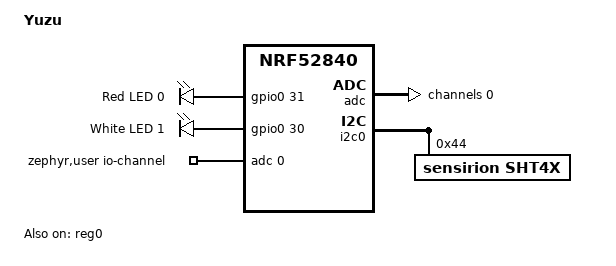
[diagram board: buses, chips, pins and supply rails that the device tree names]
/dts-v1/;
#include <nordic/nrf52840_qiaa.dtsi>
#include "yuzu-pinctrl.dtsi"
#include <zephyr/dt-bindings/input/input-event-codes.h>

/ {
	model = "Yuzu";
	compatible = "custom,yuzu";

	chosen {
		zephyr,sram = &sram0;
		zephyr,flash = &flash0;
		zephyr,code-partition = &slot0_partition;
	};

	leds {
		compatible = "gpio-leds";
		led0: led_0 {
			gpios = <&gpio0 31 GPIO_ACTIVE_HIGH>;
			label = "Red LED 0";
		};
		led1: led_1 {
			gpios = <&gpio0 30 GPIO_ACTIVE_HIGH>;
			label = "White LED 1";
		};
	};

	zephyr,user {
        io-channels = <&adc 0>;
    };

	/* These aliases are provided for compatibility with samples */
	aliases {
		led0 = &led0;
		led1 = &led1;
		bootloader-led0 = &led0;
		mcuboot-led0 = &led0;
		watchdog0 = &wdt0;
	};
};

&reg0 {
	status = "okay";
};

&reg1 {
	regulator-initial-mode = <NRF5X_REG_MODE_DCDC>;
};

&adc {
	status = "okay";
	#address-cells = <1>;
	#size-cells = <0>;

	channel@0 {
		reg = <0>;
		zephyr,gain = "ADC_GAIN_1_6";
		zephyr,reference = "ADC_REF_INTERNAL";
		zephyr,acquisition-time = <ADC_ACQ_TIME_DEFAULT>;
		zephyr,input-positive = <NRF_SAADC_VDD>;
		zephyr,resolution = <12>;
	};
};

&uicr {
	gpio-as-nreset;
};

&gpiote {
	status = "okay";
};

&gpio0 {
	status = "okay";
};

&gpio1 {
	status = "okay";
};

&i2c0 {
	compatible = "nordic,nrf-twim";
	status = "okay";
	pinctrl-0 = <&i2c0_default>;
	pinctrl-1 = <&i2c0_sleep>;
	pinctrl-names = "default", "sleep";

	SHT4X: sht4x@44 {
		compatible = "sensirion,sht4x";
		reg = <0x44>;
		repeatability = <0>;
	};
};

&flash0 {

	partitions {
		ranges;
		#address-cells = <1>;
		#size-cells = <1>;

		/*
		 * Must match the layout the Partition Manager gave builds up to
		 * NCS 3.2 (nrf/scripts/pm_to_dts.py on a 3.2.3 build): sensors in
		 * the field run a bootloader with these slots. A different layout
		 * breaks updates over Bluetooth to and from those sensors.
		 */
		boot_partition: partition@0 {
			compatible = "zephyr,mapped-partition";
			label = "mcuboot";
			reg = <0x00000000 0x0000c000>;
		};
		slot0_partition: partition@c000 {
			compatible = "zephyr,mapped-partition";
			label = "image-0";
			reg = <0x0000c000 0x0007a000>;
		};
		slot1_partition: partition@86000 {
			compatible = "zephyr,mapped-partition";
			label = "image-1";
			reg = <0x00086000 0x0007a000>;
		};
	};
};
